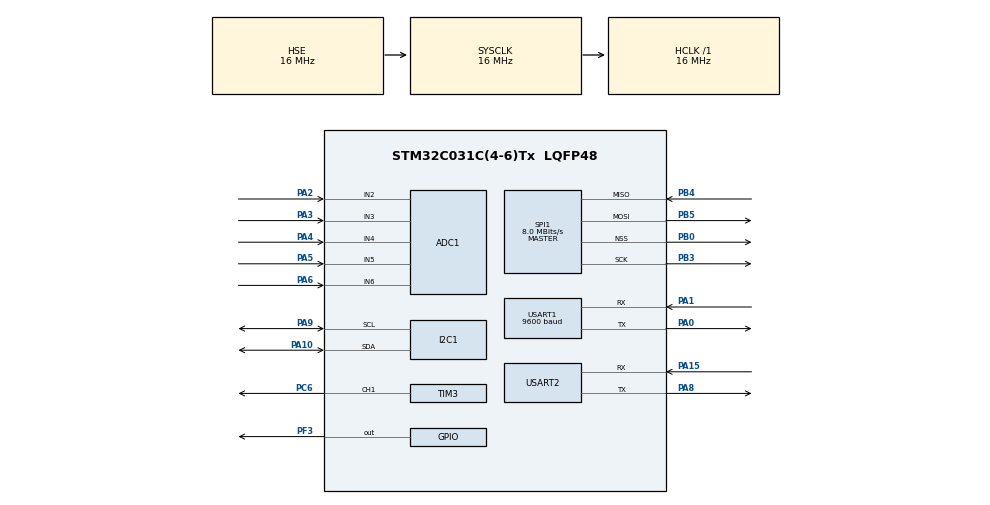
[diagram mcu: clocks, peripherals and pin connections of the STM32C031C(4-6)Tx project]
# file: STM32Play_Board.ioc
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ADC1.Channel-14\#ChannelRegularConversion=ADC_CHANNEL_6
ADC1.ContinuousConvMode=ENABLE
ADC1.EOCSelection=ADC_EOC_SEQ_CONV
ADC1.NbrOfConversionFlag=1
ADC1.Rank-14\#ChannelRegularConversion=1
ADC1.SamplingTime-14\#ChannelRegularConversion=ADC_SAMPLINGTIME_COMMON_1
ADC1.SelectedChannel=ADC_CHANNEL_2|ADC_CHANNEL_3|ADC_CHANNEL_4|ADC_CHANNEL_5|ADC_CHANNEL_6
ADC1.master=1
Dma.ADC1.0.Direction=DMA_PERIPH_TO_MEMORY
Dma.ADC1.0.EventEnable=DISABLE
Dma.ADC1.0.Instance=DMA1_Channel1
Dma.ADC1.0.MemDataAlignment=DMA_MDATAALIGN_HALFWORD
Dma.ADC1.0.MemInc=DMA_MINC_ENABLE
Dma.ADC1.0.Mode=DMA_CIRCULAR
Dma.ADC1.0.PeriphDataAlignment=DMA_PDATAALIGN_HALFWORD
Dma.ADC1.0.PeriphInc=DMA_PINC_DISABLE
Dma.ADC1.0.Polarity=HAL_DMAMUX_REQ_GEN_RISING
Dma.ADC1.0.Priority=DMA_PRIORITY_LOW
Dma.ADC1.0.RequestNumber=1
Dma.ADC1.0.SignalID=NONE
Dma.ADC1.0.SyncEnable=DISABLE
Dma.ADC1.0.SyncPolarity=HAL_DMAMUX_SYNC_NO_EVENT
Dma.ADC1.0.SyncRequestNumber=1
Dma.ADC1.0.SyncSignalID=NONE
Dma.Request0=ADC1
Mcu.Family=STM32C0
Mcu.Name=STM32C031C(4-6)Tx
Mcu.Package=LQFP48
NVIC.DMA1_Channel1_IRQn=true\:0\:0\:false\:false\:true\:false\:true\:true
NVIC.USART1_IRQn=true\:0\:0\:false\:false\:true\:true\:true\:true
PA0.Mode=Asynchronous
PA0.Signal=USART1_TX
PA1.Mode=Asynchronous
PA1.Signal=USART1_RX
PA10.Mode=I2C
PA10.Signal=I2C1_SDA
PA13.Mode=Serial_Wire
PA13.Signal=DEBUG_SWDIO
PA14-BOOT0.Mode=Serial_Wire
PA14-BOOT0.Signal=DEBUG_SWCLK
PA15.Mode=Asynchronous
PA15.Signal=USART2_RX
PA2.Mode=IN2
PA2.Signal=ADC1_IN2
PA3.Mode=IN3
PA3.Signal=ADC1_IN3
PA4.Mode=IN4
PA4.Signal=ADC1_IN4
PA5.Mode=IN5
PA5.Signal=ADC1_IN5
PA6.Mode=IN6
PA6.Signal=ADC1_IN6
PA8.Mode=Asynchronous
PA8.Signal=USART2_TX
PA9.Mode=I2C
PA9.Signal=I2C1_SCL
PB0.Mode=NSS_Signal_Hard_Output
PB0.Signal=SPI1_NSS
PB3.Mode=Full_Duplex_Master
PB3.Signal=SPI1_SCK
PB4.Mode=Full_Duplex_Master
PB4.Signal=SPI1_MISO
PB5.Mode=Full_Duplex_Master
PB5.Signal=SPI1_MOSI
PC14-OSCX_IN\ (PC14).Mode=HSE-External-Oscillator-REMAPPED
PC14-OSCX_IN\ (PC14).Signal=RCC_OSCX_IN
PC15-OSCX_OUT\ (PC15).Mode=HSE-External-Oscillator-REMAPPED
PC15-OSCX_OUT\ (PC15).Signal=RCC_OSCX_OUT
PC6.Signal=S_TIM3_CH1
PF3.Signal=GPIO_Output
ProjectManager.HeapSize=0x200
ProjectManager.StackSize=0x400
ProjectManager.TargetToolchain=STM32CubeIDE
RCC.ADCFreq_Value=16000000
RCC.AHBFreq_Value=16000000
RCC.CortexFreq_Value=16000000
RCC.EXTERNAL_CLOCK_VALUE=12288000
RCC.HCLKFreq_Value=16000000
RCC.HSE_VALUE=16000000
RCC.HSI_VALUE=48000000
RCC.LSE_VALUE=32768
RCC.SYSCLKFreq_VALUE=16000000
RCC.SYSCLKSource=RCC_SYSCLKSOURCE_HSE
SH.S_TIM3_CH1.0=TIM3_CH1,PWM Generation1 CH1
SPI1.CalculateBaudRate=8.0 MBits/s
SPI1.Direction=SPI_DIRECTION_2LINES
SPI1.Mode=SPI_MODE_MASTER
SPI1.VirtualNSS=VM_NSSHARD
SPI1.VirtualType=VM_MASTER
TIM3.Channel-PWM\ Generation1\ CH1=TIM_CHANNEL_1
TIM3.Period=10000
TIM3.Prescaler=64
TIM3.Pulse-PWM\ Generation1\ CH1=5000
USART1.BaudRate=9600
USART1.VirtualMode-Asynchronous=VM_ASYNC
USART2.VirtualMode-Asynchronous=VM_ASYNC
VP_TIM3_VS_ClockSourceINT.Mode=Internal
board=custom

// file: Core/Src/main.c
/* USER CODE BEGIN Header */
/**
  ******************************************************************************
  * @file           : main.c
  * @brief          : Main program body
  ******************************************************************************
  * @attention
  *
  * Copyright (c) 2024 STMicroelectronics.
  * All rights reserved.
  *
  * This software is licensed under terms that can be found in the LICENSE file
  * in the root directory of this software component.
  * If no LICENSE file comes with this software, it is provided AS-IS.
  *
  ******************************************************************************
  */
/* USER CODE END Header */
#include "main.h"
#include "adc.h"
#include "dma.h"
#include "i2c.h"
#include "spi.h"
#include "tim.h"
#include "usart.h"
#include "gpio.h"

/* USER CODE BEGIN PV */
uint32_t val = 2456;
uint32_t* adc_val = &val;

/* USER CODE END PV */

void SystemClock_Config(void);

/* USER CODE BEGIN 0 */
uint8_t data[] = "The value of Channel 2 ADC is";
uint8_t data2[] = "\n\r";
uint8_t rx_data[1] = "0123";

/* USER CODE END 0 */

int main(void)
{

  /* USER CODE BEGIN 1 */
//	int32_t Ch1_duty = 5000;
  /* USER CODE END 1 */

  /* MCU Configuration--------------------------------------------------------*/

  /* Reset of all peripherals, Initializes the Flash interface and the Systick. */
  HAL_Init();

  /* Configure the system clock */
  SystemClock_Config();

  /* Initialize all configured peripherals */
  MX_GPIO_Init();
  MX_DMA_Init();
  MX_I2C1_Init();
  MX_SPI1_Init();
  MX_USART1_UART_Init();
  MX_USART2_UART_Init();
  MX_ADC1_Init();
  MX_TIM3_Init();
  /* USER CODE BEGIN 2 */
  HAL_TIM_PWM_Start(&htim3, TIM_CHANNEL_1);
  HAL_UART_Receive_IT(&huart1,rx_data,4);
  /* USER CODE END 2 */

  /* Infinite loop */
  /* USER CODE BEGIN WHILE */
  while (1)
  {
	    HAL_ADC_Start(&hadc1); // start the adc
	    HAL_ADC_PollForConversion(&hadc1, HAL_MAX_DELAY); // poll for conversion

	    *adc_val = HAL_ADC_GetValue(&hadc1); // get the adc value
	    val = *adc_val;

	    HAL_ADC_Stop(&hadc1); // stop adc

	    val = 103;

	  //HAL_UART_Transmit(&huart1, data, sizeof (data), 10000);
	  HAL_UART_Transmit(&huart1,(uint8_t *) adc_val, 4, HAL_MAX_DELAY);
	 // HAL_UART_Transmit(&huart1, data2, 4, HAL_MAX_DELAY);

	  HAL_Delay (2000); // wait for 500ms

	//  HAL_GPIO_TogglePin(GPIOF, GPIO_PIN_3);
	//  TIM3 ->CCR1 = Ch1_duty;
	//  HAL_UART_Transmit(&huart1, data, 12, 1000);
	//  HAL_Delay(1000);
    /* USER CODE END WHILE */

  }
}

void SystemClock_Config(void)
{
  RCC_OscInitTypeDef RCC_OscInitStruct = {0};
  RCC_ClkInitTypeDef RCC_ClkInitStruct = {0};

  /** Initializes the RCC Oscillators according to the specified parameters
  * in the RCC_OscInitTypeDef structure.
  */
  RCC_OscInitStruct.OscillatorType = RCC_OSCILLATORTYPE_HSE;
  RCC_OscInitStruct.HSEState = RCC_HSE_ON;
  if (HAL_RCC_OscConfig(&RCC_OscInitStruct) != HAL_OK)
  {
    Error_Handler();
  }

  /** Initializes the CPU, AHB and APB buses clocks
  */
  RCC_ClkInitStruct.ClockType = RCC_CLOCKTYPE_HCLK|RCC_CLOCKTYPE_SYSCLK
                              |RCC_CLOCKTYPE_PCLK1;
  RCC_ClkInitStruct.SYSCLKSource = RCC_SYSCLKSOURCE_HSE;
  RCC_ClkInitStruct.SYSCLKDivider = RCC_SYSCLK_DIV1;
  RCC_ClkInitStruct.AHBCLKDivider = RCC_HCLK_DIV1;
  RCC_ClkInitStruct.APB1CLKDivider = RCC_APB1_DIV1;

  if (HAL_RCC_ClockConfig(&RCC_ClkInitStruct, FLASH_LATENCY_0) != HAL_OK)
  {
    Error_Handler();
  }
}

/* USER CODE BEGIN 4 */
/*
void HAL_UART_RxCpltCallback(UART_HandleTypeDef *huart)
{

	HAL_UART_Transmit(&huart1, rx_data, 4, 100);
	HAL_UART_Receive_IT(&huart1,rx_data,4);

}*/
/* USER CODE END 4 */

void Error_Handler(void)
{
  __disable_irq();
  while (1)
  {
  }
}
